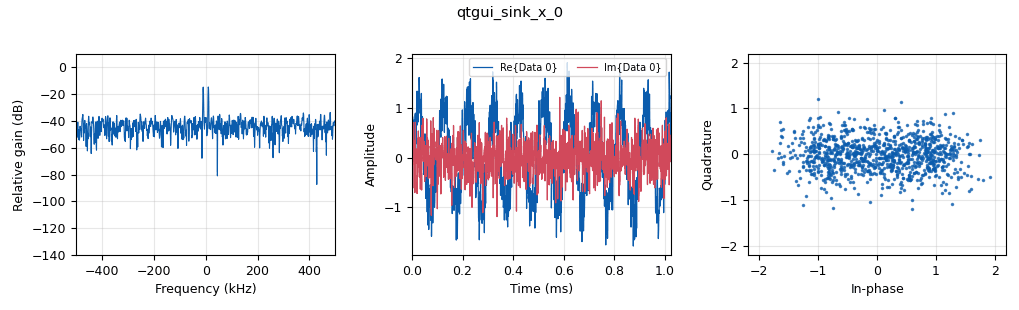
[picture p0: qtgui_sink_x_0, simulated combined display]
options:
  parameters:
    generate_options: qt_gui
    id: power_test_03
    output_language: python
    title: Power Test with Parameters
  states: {}

blocks:
- name: noise_amp
  id: variable_qtgui_range
  parameters:
    label: Noise Amplitude
    start: '0'
    step: '0.05'
    stop: '10'
    value: '0.5'
  states: {state: disabled}
- name: samp_rate
  id: variable
  parameters:
    value: 1e6
  states: {}
- name: sig_amp
  id: variable_qtgui_range
  parameters:
    label: Signal Amplitude
    start: '0'
    step: '0.1'
    stop: '10'
    value: '1'
  states: {state: disabled}
- name: sig_select
  id: variable_qtgui_chooser
  parameters:
    label: Signal Select
    label0: Real Sine
    label1: Complex Sine
    num_opts: '2'
    option0: '0'
    option1: '1'
    type: int
    value: '0'
  states: {state: disabled}
- name: analog_const_source_x_0
  id: analog_const_source_x
  parameters:
    const: '0'
    type: float
  states: {}
- name: analog_const_source_x_0_0
  id: analog_const_source_x
  parameters:
    const: sig_amp**2/2 + sig_select*sig_amp**2/2 + noise_amp**2
    type: float
  states: {}
- name: analog_noise_source_x_0
  id: analog_noise_source_x
  parameters:
    amp: noise_amp
    noise_type: analog.GR_GAUSSIAN
    seed: '0'
    type: complex
  states: {}
- name: analog_sig_source_x_0
  id: analog_sig_source_x
  parameters:
    amp: sig_amp
    freq: '1000'
    offset: '0'
    phase: '0'
    samp_rate: samp_rate
    type: complex
    waveform: analog.GR_COS_WAVE
  states: {}
- name: analog_sig_source_x_0_0
  id: analog_sig_source_x
  parameters:
    amp: sig_amp
    freq: '10000'
    offset: '0'
    phase: '0'
    samp_rate: samp_rate
    type: float
    waveform: analog.GR_COS_WAVE
  states: {}
- name: blocks_add_xx_0
  id: blocks_add_xx
  parameters:
    type: complex
  states: {}
- name: blocks_float_to_complex_0
  id: blocks_float_to_complex
  parameters: {}
  states: {}
- name: blocks_selector_0
  id: blocks_selector
  parameters:
    enabled: 'True'
    input_index: sig_select
    num_inputs: '2'
    num_outputs: '1'
    output_index: '0'
    type: complex
  states: {}
- name: blocks_throttle2_0
  id: blocks_throttle2
  parameters:
    samples_per_second: samp_rate
    type: complex
  states: {}
- name: noise_amp
  id: parameter
  parameters:
    label: Noise Amplitude
    short_id: n
    type: eng_float
    value: '0.5'
  states: {}
- name: power_calc_HB_0
  id: power_calc_HB
  parameters:
    ma_len: '1000'
  states: {}
- name: qtgui_number_sink_0
  id: qtgui_number_sink
  parameters:
    graph_type: qtgui.NUM_GRAPH_NONE
    label1: Calculated Power
    label2: Observed Power
    name: '"Power"'
    nconnections: '2'
    type: float
  states: {}
- name: qtgui_sink_x_0
  id: qtgui_sink_x
  parameters:
    bw: samp_rate
    fc: '0'
    fftsize: '1024'
    type: complex
  states: {}
- name: sig_amp
  id: parameter
  parameters:
    label: Signal Amplitude
    short_id: a
    type: eng_float
    value: '1'
  states: {}
- name: sig_select
  id: parameter
  parameters:
    label: Signal Select
    short_id: s
    type: intx
    value: '0'
  states: {}

connections:
- [analog_const_source_x_0, '0', blocks_float_to_complex_0, '1']
- [analog_const_source_x_0_0, '0', qtgui_number_sink_0, '1']
- [analog_noise_source_x_0, '0', blocks_add_xx_0, '0']
- [analog_sig_source_x_0, '0', blocks_selector_0, '1']
- [analog_sig_source_x_0_0, '0', blocks_float_to_complex_0, '0']
- [blocks_add_xx_0, '0', blocks_throttle2_0, '0']
- [blocks_float_to_complex_0, '0', blocks_selector_0, '0']
- [blocks_selector_0, '0', blocks_add_xx_0, '1']
- [blocks_throttle2_0, '0', power_calc_HB_0, '0']
- [blocks_throttle2_0, '0', qtgui_sink_x_0, '0']
- [power_calc_HB_0, '0', qtgui_number_sink_0, '0']

metadata:
  file_format: 1
  grc_version: 3.10.12.0
